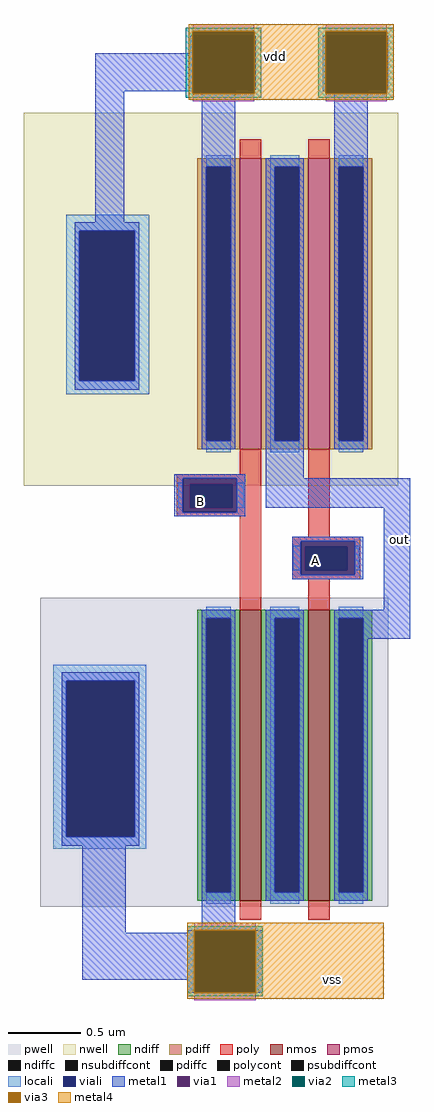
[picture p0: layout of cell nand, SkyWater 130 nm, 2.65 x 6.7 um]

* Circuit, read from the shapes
.subckt nand vdd B A out vss
XM1 n1 B vss vss sky130_fd_pr__nfet_01v8 w=2 l=0.15
XM2 out A n1 vss sky130_fd_pr__nfet_01v8 w=2 l=0.15
XM3 out B vdd vdd sky130_fd_pr__pfet_01v8 w=2 l=0.15
XM4 vdd A out vdd sky130_fd_pr__pfet_01v8 w=2 l=0.15
.ends

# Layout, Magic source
magic
tech sky130A
magscale 1 2
<< nwell >>
rect -512 1248 2 1760
<< pwell >>
rect -490 670 -12 1094
<< nmos >>
rect -216 678 -186 1078
rect -122 678 -92 1078
<< pmos >>
rect -216 1298 -186 1698
rect -122 1298 -92 1698
<< ndiff >>
rect -274 1066 -216 1078
rect -274 690 -262 1066
rect -228 690 -216 1066
rect -274 678 -216 690
rect -186 1066 -122 1078
rect -186 690 -168 1066
rect -134 690 -122 1066
rect -186 678 -122 690
rect -92 1066 -34 1078
rect -92 690 -80 1066
rect -46 690 -34 1066
rect -92 678 -34 690
<< pdiff >>
rect -274 1686 -216 1698
rect -274 1310 -262 1686
rect -228 1310 -216 1686
rect -274 1298 -216 1310
rect -186 1686 -122 1698
rect -186 1310 -168 1686
rect -134 1310 -122 1686
rect -186 1298 -122 1310
rect -92 1686 -34 1698
rect -92 1310 -80 1686
rect -46 1310 -34 1686
rect -92 1298 -34 1310
<< ndiffc >>
rect -262 690 -228 1066
rect -168 690 -134 1066
rect -80 690 -46 1066
<< pdiffc >>
rect -262 1310 -228 1686
rect -168 1310 -134 1686
rect -80 1310 -46 1686
<< psubdiffcont >>
rect -454 766 -360 980
<< nsubdiffcont >>
rect -436 1392 -360 1598
<< poly >>
rect -216 1698 -186 1724
rect -122 1698 -92 1724
rect -216 1264 -186 1298
rect -302 1250 -186 1264
rect -302 1218 -284 1250
rect -226 1218 -186 1250
rect -302 1206 -186 1218
rect -216 1078 -186 1206
rect -122 1178 -92 1298
rect -144 1164 -50 1178
rect -144 1132 -126 1164
rect -68 1132 -50 1164
rect -144 1120 -50 1132
rect -122 1078 -92 1120
rect -216 652 -186 678
rect -122 652 -92 678
<< polycont >>
rect -284 1218 -226 1250
rect -126 1132 -68 1164
<< locali >>
rect -262 1686 -228 1702
rect -454 1598 -340 1620
rect -454 1392 -436 1598
rect -360 1392 -340 1598
rect -454 1374 -340 1392
rect -262 1294 -228 1310
rect -174 1686 -134 1702
rect -174 1310 -168 1686
rect -174 1294 -134 1310
rect -80 1686 -46 1702
rect -80 1294 -46 1310
rect -300 1218 -294 1252
rect -220 1218 -210 1252
rect -142 1132 -132 1166
rect -58 1132 -52 1166
rect -262 1066 -228 1082
rect -472 980 -344 1002
rect -472 766 -454 980
rect -360 766 -344 980
rect -472 750 -344 766
rect -262 674 -228 690
rect -174 1066 -134 1082
rect -174 690 -168 1066
rect -174 674 -134 690
rect -80 1066 -46 1082
rect -80 674 -46 690
<< viali >>
rect -436 1392 -360 1598
rect -262 1310 -228 1686
rect -168 1310 -134 1686
rect -80 1310 -46 1686
rect -294 1250 -220 1258
rect -294 1218 -284 1250
rect -284 1218 -226 1250
rect -226 1218 -220 1250
rect -294 1212 -220 1218
rect -132 1164 -58 1172
rect -132 1132 -126 1164
rect -126 1132 -68 1164
rect -68 1132 -58 1164
rect -132 1126 -58 1132
rect -454 766 -360 980
rect -262 690 -228 1066
rect -168 690 -134 1066
rect -80 690 -46 1066
<< metal1 >>
rect -284 1842 -274 1866
rect -414 1792 -274 1842
rect -204 1792 -194 1866
rect -102 1792 -92 1866
rect -22 1792 -12 1866
rect -414 1790 -222 1792
rect -102 1790 -40 1792
rect -414 1610 -374 1790
rect -268 1686 -222 1790
rect -442 1598 -354 1610
rect -442 1392 -436 1598
rect -360 1392 -354 1598
rect -442 1380 -354 1392
rect -268 1310 -262 1686
rect -228 1310 -222 1686
rect -268 1298 -222 1310
rect -180 1686 -128 1698
rect -180 1310 -168 1686
rect -134 1310 -128 1686
rect -306 1258 -208 1264
rect -306 1212 -294 1258
rect -220 1212 -208 1258
rect -180 1258 -128 1310
rect -86 1686 -40 1790
rect -86 1310 -80 1686
rect -46 1310 -40 1686
rect -86 1298 -40 1310
rect -180 1218 18 1258
rect -306 1206 -208 1212
rect -144 1172 -46 1178
rect -144 1126 -132 1172
rect -58 1126 -46 1172
rect -144 1120 -46 1126
rect -18 1078 18 1218
rect -268 1066 -222 1078
rect -460 980 -354 992
rect -460 766 -454 980
rect -360 766 -354 980
rect -460 754 -354 766
rect -432 634 -372 754
rect -268 690 -262 1066
rect -228 690 -222 1066
rect -268 638 -222 690
rect -180 1066 -128 1078
rect -180 690 -168 1066
rect -134 690 -128 1066
rect -180 678 -128 690
rect -86 1066 18 1078
rect -86 690 -80 1066
rect -46 1038 18 1066
rect -46 690 -40 1038
rect -86 678 -40 690
rect -288 634 -278 638
rect -432 570 -278 634
rect -288 552 -278 570
rect -194 552 -184 638
<< via1 >>
rect -274 1792 -204 1866
rect -92 1792 -22 1866
rect -278 552 -194 638
<< metal2 >>
rect -280 1872 -196 1882
rect -280 1776 -196 1786
rect -98 1872 -14 1882
rect -98 1776 -14 1786
rect -278 638 -194 648
rect -278 542 -194 552
<< via2 >>
rect -280 1866 -196 1872
rect -280 1792 -274 1866
rect -274 1792 -204 1866
rect -204 1792 -196 1866
rect -280 1786 -196 1792
rect -98 1866 -14 1872
rect -98 1792 -92 1866
rect -92 1792 -22 1866
rect -22 1792 -14 1866
rect -98 1786 -14 1792
rect -278 552 -194 638
<< metal3 >>
rect -290 1872 -186 1877
rect -290 1786 -280 1872
rect -196 1786 -186 1872
rect -290 1781 -186 1786
rect -108 1872 -4 1877
rect -108 1786 -98 1872
rect -14 1786 -4 1872
rect -108 1781 -4 1786
rect -288 638 -184 643
rect -288 552 -278 638
rect -194 552 -184 638
rect -288 547 -184 552
<< via3 >>
rect -280 1786 -196 1872
rect -98 1786 -14 1872
rect -278 552 -194 638
<< metal4 >>
rect -286 1872 -4 1882
rect -286 1786 -280 1872
rect -196 1786 -98 1872
rect -14 1786 -4 1872
rect -286 1778 -4 1786
rect -288 638 -18 648
rect -288 552 -278 638
rect -194 552 -18 638
rect -288 544 -18 552
<< labels >>
flabel metal4 -166 1838 -166 1838 0 FreeSans 1600 0 0 0 vdd
port 0 nsew
flabel metal4 -88 570 -88 570 0 FreeSans 1600 0 0 0 vss
port 4 nsew
flabel metal1 4 1174 4 1174 0 FreeSans 1600 0 0 0 out
port 3 nsew
flabel viali -112 1146 -112 1146 0 FreeSans 1600 0 0 0 A
port 2 nsew
flabel viali -270 1226 -270 1226 0 FreeSans 1600 0 0 0 B
port 1 nsew
<< end >>
